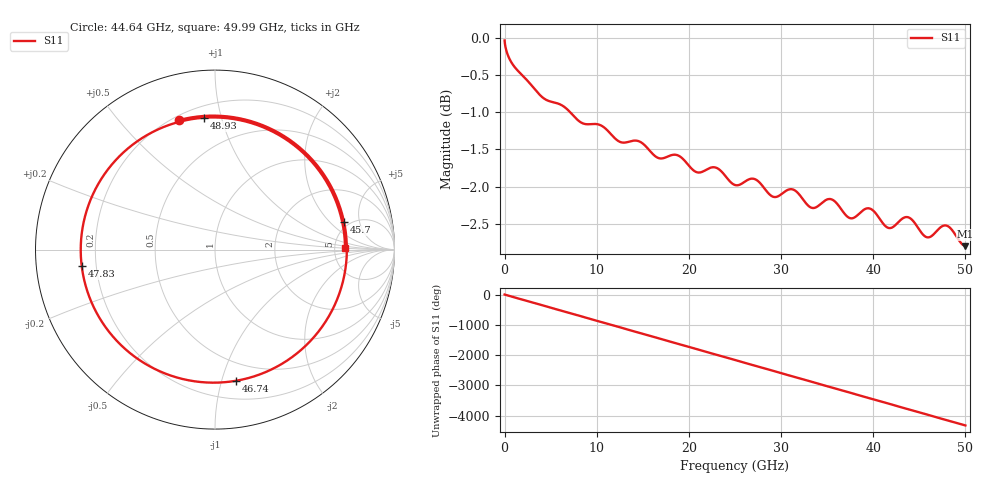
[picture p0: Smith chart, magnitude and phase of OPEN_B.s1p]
! Mesure 1 port cote sortie, OPEN ideal : ligne B : Zc=48.0 ohm, 120 ps, 0.6 dB@10GHz
! Frequency(Hz) Re(S11) Im(S11)
# Hz S RI R 50
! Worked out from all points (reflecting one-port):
!   5000 points, 10 MHz to 50 GHz, reference 50 ohm
!   lowest |S11| = -2.8 dB at 50 GHz (marker M1), VSWR 6.26, Z = 313 + j2.93e-12 ohm
!   phase of S11 starts at -1 deg and turns -4319 deg over the sweep
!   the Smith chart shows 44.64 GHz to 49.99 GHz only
!   S11 on the Smith chart (normalised r, x): 44.64 GHz: 0.22, +0.74; 45.7 GHz: 4.49, +2.99; 46.74 GHz: 0.35, -1.12; 47.83 GHz: 0.14, -0.06; 48.93 GHz: 0.27, +0.88; 49.99 GHz: 6.25, +0.30
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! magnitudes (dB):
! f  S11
! 10 MHz  0.0
! 920 MHz  -0.4
! 3.7 GHz  -0.8
! 6.26 GHz  -0.9
! 8.25 GHz  -1.1
! 12.51 GHz  -1.4
! 14.61 GHz  -1.4
! 16.79 GHz  -1.6
! 18.76 GHz  -1.6
! 20.85 GHz  -1.8
! 23.08 GHz  -1.8
! 25.01 GHz  -2.0
! 27.1 GHz  -1.9
! 29.3 GHz  -2.1
! 31.26 GHz  -2.0
! 33.34 GHz  -2.3
! 35.58 GHz  -2.2
! 37.51 GHz  -2.4
! 39.59 GHz  -2.3
! 41.8 GHz  -2.6
! 43.76 GHz  -2.4
! 44.64 GHz  -2.5
! 45.7 GHz  -2.7
! 46.74 GHz  -2.6
! 47.83 GHz  -2.5
! 48.93 GHz  -2.6
! 49.99 GHz  -2.8
! 50 GHz  -2.8
